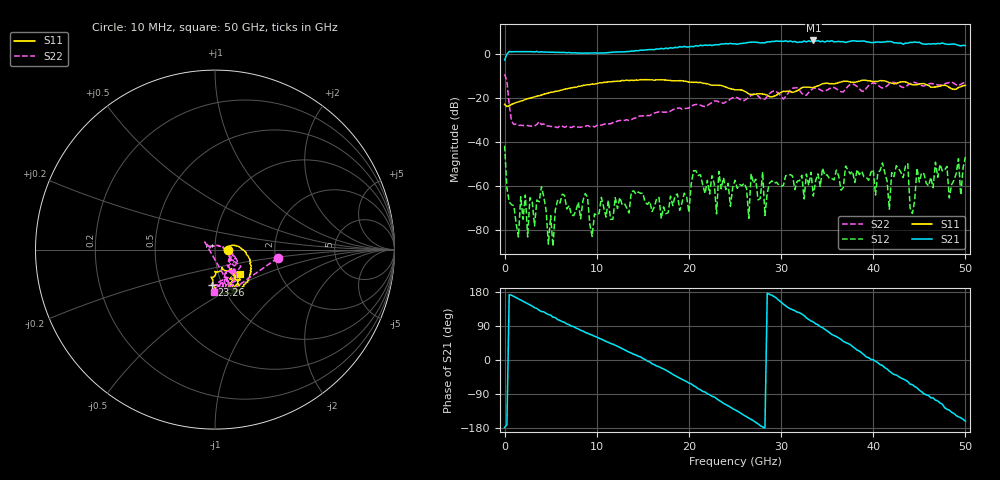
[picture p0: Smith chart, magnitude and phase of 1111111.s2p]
!Agilent Technologies,E8364C,MY43040239,A.09.42.22
!Agilent E8364C: A.09.42.22
!Date: Sunday, September 14, 2025 22:30:20
!Correction: S11(Full 2 Port(1,2))
!S21(Full 2 Port(1,2))
!S12(Full 2 Port(1,2))
!S22(Full 2 Port(1,2))
!S2P File: Measurements: S11, S21, S12, S22:
# Hz S  RI  R 50
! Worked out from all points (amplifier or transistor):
!   201 points, 10 MHz to 50 GHz, reference 50 ohm
!   highest |S21| = 6.3 dB at 33.5 GHz (marker M1)
!   |S21| within 3 dB of that: 19.87 GHz to end of sweep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
!   unconditionally stable (mu >= 1): start of sweep to end of sweep
!   at 8.258 GHz: K = 2521.53, MAG = 0.7 dB, |S12| = -74.9 dB
!   at 25 GHz: K = 205.23, MAG = 4.9 dB, |S12| = -57.3 dB
!   at 50 GHz: K = 62.68, MAG = 4.3 dB, |S12| = -46.7 dB
!   S11 on the Smith chart (normalised r, x): 10 MHz: 1.16, -0.00; 23.26 GHz: 0.90, -0.36; 50 GHz: 1.27, -0.36
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1e7  0.0724 -0.00197  -0.741 -0.0273  0.00815 0.00121  0.3489 -0.0473
1.5097e9  0.0801 0.0199  -1.089 0.3634  -6.37e-05 2.66e-05  -0.0231 0.0068
8.5083e9  0.1889 -0.0479  0.247 1.028  -1.74e-05 -0.000462  -0.000654 0.0224
1.675665e10  0.1024 -0.2403  1.248 -0.4011  -0.000547 -6.43e-05  0.0469 0.014
2.0006e10  0.0299 -0.2303  0.7127 -1.278  -0.000159 -0.000196  0.059 -0.00904
2.075585e10  0.0121 -0.2301  0.5173 -1.482  -0.00125 0.00186  0.0716 -0.00307
2.30054e10  -0.019 -0.1964  -0.3397 -1.621  -0.000204 -0.00011  0.0848 -0.0158
2.325535e10  -0.017 -0.1952  -0.4642 -1.578  -0.00165 -0.00138  0.0815 -0.0131
2.5005e10  -0.0222 -0.1536  -1.151 -1.294  0.000563 0.00124  0.1011 -0.0295
2.65047e10  0.00535 -0.1247  -1.667 -0.8466  -0.000165 8.08e-05  0.0852 -0.0602
2.675465e10  7.48e-05 -0.1213  -1.718 -0.7551  0.000425 0.00187  0.1003 -0.0599
2.80044e10  0.0245 -0.1221  -1.828 -0.1161  0.00208 3.07e-05  0.0831 -0.0424
2.825435e10  0.0316 -0.117  -1.826 -0.0087  0.000108 -0.000185  0.0777 -0.0556
2.95041e10  0.0442 -0.1081  -1.931 0.5766  0.00114 -0.000425  0.1241 -0.0636
3.35033e10  0.1056 -0.1387  -0.3766 2.027  0.000573 0.000152  0.0992 -0.1359
4.10018e10  0.1039 -0.2269  1.835 -0.4661  -0.00227 -0.00248  0.065 -0.157
4.175165e10  0.1033 -0.2004  1.696 -0.9571  3.95e-06 0.000297  0.0473 -0.2095
4.25015e10  0.0786 -0.2032  1.396 -1.158  -0.0029 -0.000142  0.0877 -0.1964
4.375125e10  0.096 -0.2025  0.9709 -1.499  0.00205 -0.00247  0.0243 -0.1984
4.425115e10  0.0849 -0.1841  0.7763 -1.681  -0.000228 7.05e-05  0.0386 -0.2269
4.5001e10  0.0738 -0.1956  0.339 -1.844  0.000487 -0.00113  0.0629 -0.1965
5e10  0.1398 -0.1376  -1.487 -0.4979  0.00461 0.00023  -0.00742 -0.2345
